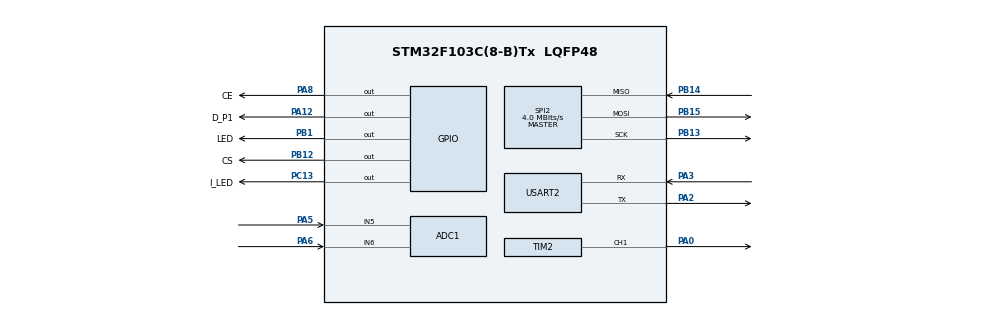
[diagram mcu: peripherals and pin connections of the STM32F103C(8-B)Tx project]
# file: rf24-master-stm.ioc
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ADC1.Channel-2\#ChannelRegularConversion=ADC_CHANNEL_5
ADC1.NbrOfConversionFlag=1
ADC1.Rank-2\#ChannelRegularConversion=1
ADC1.SamplingTime-2\#ChannelRegularConversion=ADC_SAMPLETIME_1CYCLE_5
ADC1.master=1
Mcu.Family=STM32F1
Mcu.Name=STM32F103C(8-B)Tx
Mcu.Package=LQFP48
NVIC.PriorityGroup=NVIC_PRIORITYGROUP_4
NVIC.SPI2_IRQn=true\:0\:0\:false\:false\:true\:true\:true\:true
PA0-WKUP.Signal=S_TIM2_CH1_ETR
PA12.GPIO_Label=D_P1
PA12.GPIO_ModeDefaultOutputPP=GPIO_MODE_OUTPUT_PP
PA12.GPIO_PuPd=GPIO_NOPULL
PA12.GPIO_Speed=GPIO_SPEED_FREQ_LOW
PA12.PinState=GPIO_PIN_RESET
PA12.Signal=GPIO_Output
PA13.Mode=Serial_Wire
PA13.Signal=SYS_JTMS-SWDIO
PA14.Mode=Serial_Wire
PA14.Signal=SYS_JTCK-SWCLK
PA2.Mode=Asynchronous
PA2.Signal=USART2_TX
PA3.Mode=Asynchronous
PA3.Signal=USART2_RX
PA5.Signal=ADCx_IN5
PA6.Signal=ADCx_IN6
PA8.GPIO_Label=CE
PA8.GPIO_PuPd=GPIO_NOPULL
PA8.GPIO_Speed=GPIO_SPEED_FREQ_LOW
PA8.PinState=GPIO_PIN_RESET
PA8.Signal=GPIO_Output
PB1.GPIO_Label=LED
PB1.Signal=GPIO_Output
PB12.GPIO_Label=CS
PB12.PinState=GPIO_PIN_SET
PB12.Signal=GPIO_Output
PB13.Mode=Full_Duplex_Master
PB13.Signal=SPI2_SCK
PB14.Mode=Full_Duplex_Master
PB14.Signal=SPI2_MISO
PB15.Mode=Full_Duplex_Master
PB15.Signal=SPI2_MOSI
PC13-TAMPER-RTC.GPIO_Label=I_LED
PC13-TAMPER-RTC.Signal=GPIO_Output
PC14-OSC32_IN.Mode=LSE-External-Oscillator
PC14-OSC32_IN.Signal=RCC_OSC32_IN
PC15-OSC32_OUT.Mode=LSE-External-Oscillator
PC15-OSC32_OUT.Signal=RCC_OSC32_OUT
PD0-OSC_IN.Mode=HSE-External-Oscillator
PD0-OSC_IN.Signal=RCC_OSC_IN
PD1-OSC_OUT.Mode=HSE-External-Oscillator
PD1-OSC_OUT.Signal=RCC_OSC_OUT
ProjectManager.HeapSize=0x200
ProjectManager.StackSize=0x400
ProjectManager.TargetToolchain=STM32CubeIDE
RCC.APB1Freq_Value=8000000
RCC.APB2Freq_Value=8000000
SH.ADCx_IN5.0=ADC1_IN5,IN5
SH.ADCx_IN6.0=ADC1_IN6,IN6
SH.S_TIM2_CH1_ETR.0=TIM2_CH1,PWM Generation1 CH1
SPI2.BaudRatePrescaler=SPI_BAUDRATEPRESCALER_2
SPI2.CalculateBaudRate=4.0 MBits/s
SPI2.Direction=SPI_DIRECTION_2LINES
SPI2.Mode=SPI_MODE_MASTER
SPI2.VirtualType=VM_MASTER
TIM2.AutoReloadPreload=TIM_AUTORELOAD_PRELOAD_ENABLE
TIM2.Channel-PWM\ Generation1\ CH1=TIM_CHANNEL_1
USART2.VirtualMode=VM_ASYNC
VP_TIM2_VS_ClockSourceINT.Mode=Internal
board=custom

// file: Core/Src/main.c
/* USER CODE BEGIN Header */
/**
  ******************************************************************************
  * @file           : main.c
  * @brief          : Main program body
  ******************************************************************************
  * @attention
  *
  * Copyright (c) 2025 STMicroelectronics.
  * All rights reserved.
  *
  * This software is licensed under terms that can be found in the LICENSE file
  * in the root directory of this software component.
  * If no LICENSE file comes with this software, it is provided AS-IS.
  *
  ******************************************************************************
  */
/* USER CODE END Header */
#include "main.h"

/* USER CODE BEGIN Includes */
#include "rf24_lib.h"
#include "stm_system_config.h"
#include <string.h>

#define isEmptyBuffer(buf)      ((buf) != NULL ? 0 : 1)
#define minValue(val1, val2)	((val1) < (val2) ? (val1) : (val2))
/* USER CODE END Includes */

ADC_HandleTypeDef hadc1;

SPI_HandleTypeDef hspi2;

TIM_HandleTypeDef htim2;

UART_HandleTypeDef huart2;

void SystemClock_Config(void);
static void MX_GPIO_Init(void);
static void MX_SPI2_Init(void);
static void MX_USART2_UART_Init(void);
static void MX_ADC1_Init(void);
static void MX_TIM2_Init(void);

/* USER CODE BEGIN 0 */

//debug with UART port
int _write(int file, char *ptr, int len)
{
    HAL_UART_Transmit(&huart2, (uint8_t*)ptr, len, HAL_MAX_DELAY);
    return len;
}

RF24_Handle rf_handle;
const uint8_t tx_address[5] = {'N','H','U','T','1'};
uint8_t tx_data[] = "NhutNguyen";

/* USER CODE END 0 */

int main(void)
{

  /* MCU Configuration--------------------------------------------------------*/

  /* Reset of all peripherals, Initializes the Flash interface and the Systick. */
  HAL_Init();

  /* Configure the system clock */
  SystemClock_Config();

  /* Initialize all configured peripherals */
  MX_GPIO_Init();
  MX_SPI2_Init();
  MX_USART2_UART_Init();
  MX_ADC1_Init();
  MX_TIM2_Init();
  /* USER CODE BEGIN 2 */

  //========STM_SYSTEM_CONFIG=========
  DWT_Init();

  //========RF_CONFIGURATION==========
  rf_handle.cfg.cePin = CE_Pin;
  rf_handle.cfg.cePort = CE_GPIO_Port;
  rf_handle.cfg.csnPin = CS_Pin;
  rf_handle.cfg.csnPort = CS_GPIO_Port;
  rf_handle.cfg.hspi = &hspi2;

  //========END CONFIGURATION==========
  rf24_init(&rf_handle);

  rf24_dump_registers(&rf_handle);

  /* USER CODE END 2 */

  /* Infinite loop */
  while (1)
  {

    /* USER CODE BEGIN 3 */

    HAL_Delay(200);
  }
  /* USER CODE END 3 */
}

void SystemClock_Config(void)
{
  RCC_OscInitTypeDef RCC_OscInitStruct = {0};
  RCC_ClkInitTypeDef RCC_ClkInitStruct = {0};
  RCC_PeriphCLKInitTypeDef PeriphClkInit = {0};

  /** Initializes the RCC Oscillators according to the specified parameters
  * in the RCC_OscInitTypeDef structure.
  */
  RCC_OscInitStruct.OscillatorType = RCC_OSCILLATORTYPE_HSI;
  RCC_OscInitStruct.HSIState = RCC_HSI_ON;
  RCC_OscInitStruct.HSICalibrationValue = RCC_HSICALIBRATION_DEFAULT;
  RCC_OscInitStruct.PLL.PLLState = RCC_PLL_NONE;
  if (HAL_RCC_OscConfig(&RCC_OscInitStruct) != HAL_OK)
  {
    Error_Handler();
  }

  /** Initializes the CPU, AHB and APB buses clocks
  */
  RCC_ClkInitStruct.ClockType = RCC_CLOCKTYPE_HCLK|RCC_CLOCKTYPE_SYSCLK
                              |RCC_CLOCKTYPE_PCLK1|RCC_CLOCKTYPE_PCLK2;
  RCC_ClkInitStruct.SYSCLKSource = RCC_SYSCLKSOURCE_HSI;
  RCC_ClkInitStruct.AHBCLKDivider = RCC_SYSCLK_DIV1;
  RCC_ClkInitStruct.APB1CLKDivider = RCC_HCLK_DIV1;
  RCC_ClkInitStruct.APB2CLKDivider = RCC_HCLK_DIV1;

  if (HAL_RCC_ClockConfig(&RCC_ClkInitStruct, FLASH_LATENCY_0) != HAL_OK)
  {
    Error_Handler();
  }
  PeriphClkInit.PeriphClockSelection = RCC_PERIPHCLK_ADC;
  PeriphClkInit.AdcClockSelection = RCC_ADCPCLK2_DIV2;
  if (HAL_RCCEx_PeriphCLKConfig(&PeriphClkInit) != HAL_OK)
  {
    Error_Handler();
  }
}

static void MX_ADC1_Init(void)
{

  ADC_ChannelConfTypeDef sConfig = {0};

  /** Common config
  */
  hadc1.Instance = ADC1;
  hadc1.Init.ScanConvMode = ADC_SCAN_DISABLE;
  hadc1.Init.ContinuousConvMode = DISABLE;
  hadc1.Init.DiscontinuousConvMode = DISABLE;
  hadc1.Init.ExternalTrigConv = ADC_SOFTWARE_START;
  hadc1.Init.DataAlign = ADC_DATAALIGN_RIGHT;
  hadc1.Init.NbrOfConversion = 1;
  if (HAL_ADC_Init(&hadc1) != HAL_OK)
  {
    Error_Handler();
  }

  /** Configure Regular Channel
  */
  sConfig.Channel = ADC_CHANNEL_5;
  sConfig.Rank = ADC_REGULAR_RANK_1;
  sConfig.SamplingTime = ADC_SAMPLETIME_1CYCLE_5;
  if (HAL_ADC_ConfigChannel(&hadc1, &sConfig) != HAL_OK)
  {
    Error_Handler();
  }

}

static void MX_SPI2_Init(void)
{

  /* SPI2 parameter configuration*/
  hspi2.Instance = SPI2;
  hspi2.Init.Mode = SPI_MODE_MASTER;
  hspi2.Init.Direction = SPI_DIRECTION_2LINES;
  hspi2.Init.DataSize = SPI_DATASIZE_8BIT;
  hspi2.Init.CLKPolarity = SPI_POLARITY_LOW;
  hspi2.Init.CLKPhase = SPI_PHASE_1EDGE;
  hspi2.Init.NSS = SPI_NSS_SOFT;
  hspi2.Init.BaudRatePrescaler = SPI_BAUDRATEPRESCALER_2;
  hspi2.Init.FirstBit = SPI_FIRSTBIT_MSB;
  hspi2.Init.TIMode = SPI_TIMODE_DISABLE;
  hspi2.Init.CRCCalculation = SPI_CRCCALCULATION_DISABLE;
  hspi2.Init.CRCPolynomial = 10;
  if (HAL_SPI_Init(&hspi2) != HAL_OK)
  {
    Error_Handler();
  }

}

static void MX_TIM2_Init(void)
{

  TIM_ClockConfigTypeDef sClockSourceConfig = {0};
  TIM_MasterConfigTypeDef sMasterConfig = {0};
  TIM_OC_InitTypeDef sConfigOC = {0};

  htim2.Instance = TIM2;
  htim2.Init.Prescaler = 0;
  htim2.Init.CounterMode = TIM_COUNTERMODE_UP;
  htim2.Init.Period = 65535;
  htim2.Init.ClockDivision = TIM_CLOCKDIVISION_DIV1;
  htim2.Init.AutoReloadPreload = TIM_AUTORELOAD_PRELOAD_ENABLE;
  if (HAL_TIM_Base_Init(&htim2) != HAL_OK)
  {
    Error_Handler();
  }
  sClockSourceConfig.ClockSource = TIM_CLOCKSOURCE_INTERNAL;
  if (HAL_TIM_ConfigClockSource(&htim2, &sClockSourceConfig) != HAL_OK)
  {
    Error_Handler();
  }
  if (HAL_TIM_PWM_Init(&htim2) != HAL_OK)
  {
    Error_Handler();
  }
  sMasterConfig.MasterOutputTrigger = TIM_TRGO_RESET;
  sMasterConfig.MasterSlaveMode = TIM_MASTERSLAVEMODE_DISABLE;
  if (HAL_TIMEx_MasterConfigSynchronization(&htim2, &sMasterConfig) != HAL_OK)
  {
    Error_Handler();
  }
  sConfigOC.OCMode = TIM_OCMODE_PWM1;
  sConfigOC.Pulse = 0;
  sConfigOC.OCPolarity = TIM_OCPOLARITY_HIGH;
  sConfigOC.OCFastMode = TIM_OCFAST_DISABLE;
  if (HAL_TIM_PWM_ConfigChannel(&htim2, &sConfigOC, TIM_CHANNEL_1) != HAL_OK)
  {
    Error_Handler();
  }
  HAL_TIM_MspPostInit(&htim2);

}

static void MX_USART2_UART_Init(void)
{

  huart2.Instance = USART2;
  huart2.Init.BaudRate = 115200;
  huart2.Init.WordLength = UART_WORDLENGTH_8B;
  huart2.Init.StopBits = UART_STOPBITS_1;
  huart2.Init.Parity = UART_PARITY_NONE;
  huart2.Init.Mode = UART_MODE_TX_RX;
  huart2.Init.HwFlowCtl = UART_HWCONTROL_NONE;
  huart2.Init.OverSampling = UART_OVERSAMPLING_16;
  if (HAL_UART_Init(&huart2) != HAL_OK)
  {
    Error_Handler();
  }

}

static void MX_GPIO_Init(void)
{
  GPIO_InitTypeDef GPIO_InitStruct = {0};

  /* GPIO Ports Clock Enable */
  __HAL_RCC_GPIOC_CLK_ENABLE();
  __HAL_RCC_GPIOD_CLK_ENABLE();
  __HAL_RCC_GPIOA_CLK_ENABLE();
  __HAL_RCC_GPIOB_CLK_ENABLE();

  /*Configure GPIO pin Output Level */
  HAL_GPIO_WritePin(I_LED_GPIO_Port, I_LED_Pin, GPIO_PIN_RESET);

  /*Configure GPIO pin Output Level */
  HAL_GPIO_WritePin(LED_GPIO_Port, LED_Pin, GPIO_PIN_RESET);

  /*Configure GPIO pin Output Level */
  HAL_GPIO_WritePin(CS_GPIO_Port, CS_Pin, GPIO_PIN_SET);

  /*Configure GPIO pin Output Level */
  HAL_GPIO_WritePin(GPIOA, CE_Pin|D_P1_Pin, GPIO_PIN_RESET);

  /*Configure GPIO pin : I_LED_Pin */
  GPIO_InitStruct.Pin = I_LED_Pin;
  GPIO_InitStruct.Mode = GPIO_MODE_OUTPUT_PP;
  GPIO_InitStruct.Pull = GPIO_NOPULL;
  GPIO_InitStruct.Speed = GPIO_SPEED_FREQ_LOW;
  HAL_GPIO_Init(I_LED_GPIO_Port, &GPIO_InitStruct);

  /*Configure GPIO pins : LED_Pin CS_Pin */
  GPIO_InitStruct.Pin = LED_Pin|CS_Pin;
  GPIO_InitStruct.Mode = GPIO_MODE_OUTPUT_PP;
  GPIO_InitStruct.Pull = GPIO_NOPULL;
  GPIO_InitStruct.Speed = GPIO_SPEED_FREQ_LOW;
  HAL_GPIO_Init(GPIOB, &GPIO_InitStruct);

  /*Configure GPIO pins : CE_Pin D_P1_Pin */
  GPIO_InitStruct.Pin = CE_Pin|D_P1_Pin;
  GPIO_InitStruct.Mode = GPIO_MODE_OUTPUT_PP;
  GPIO_InitStruct.Pull = GPIO_NOPULL;
  GPIO_InitStruct.Speed = GPIO_SPEED_FREQ_LOW;
  HAL_GPIO_Init(GPIOA, &GPIO_InitStruct);

}

void Error_Handler(void)
{
  __disable_irq();
  while (1)
  {
  }
}
